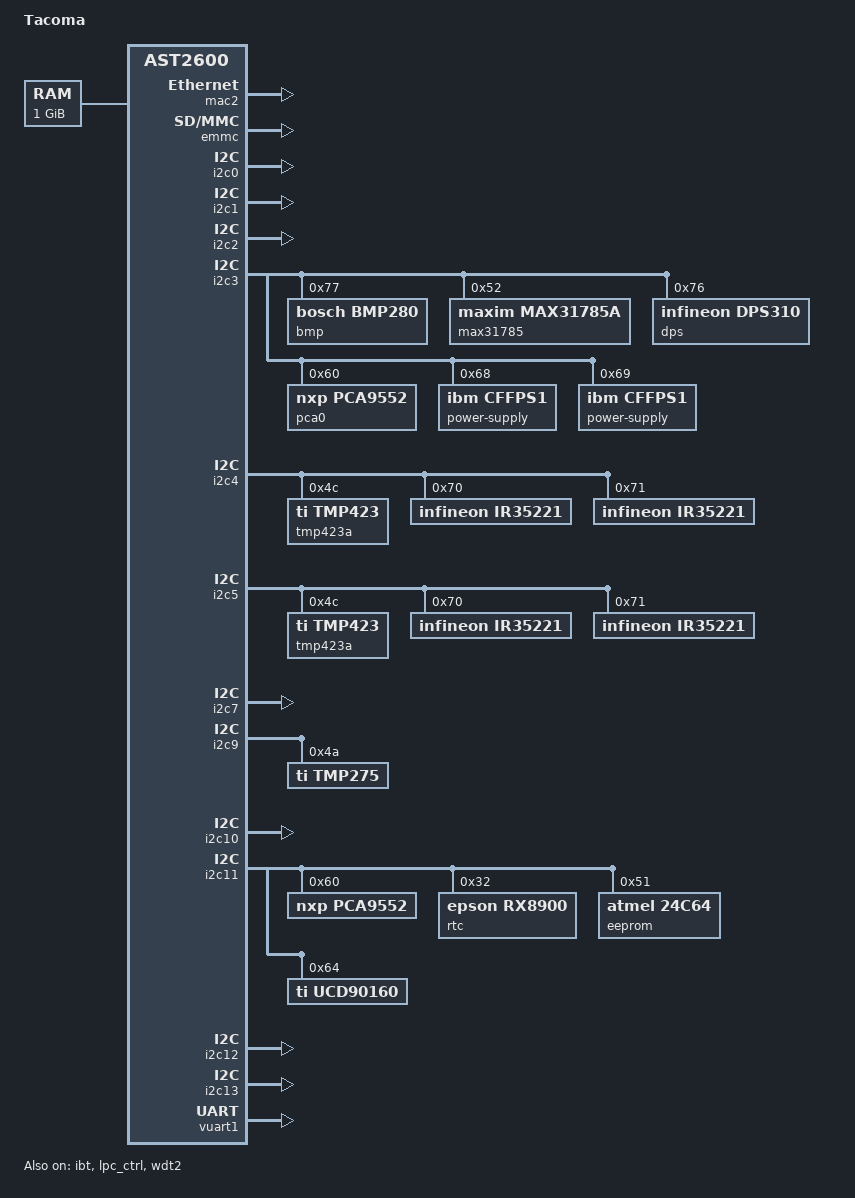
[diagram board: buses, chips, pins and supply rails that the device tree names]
// SPDX-License-Identifier: GPL-2.0-or-later
// Copyright 2019 IBM Corp.
/dts-v1/;

#include "aspeed-g6.dtsi"

/ {
	model = "Tacoma";
	compatible = "ibm,tacoma-bmc", "aspeed,ast2600";

	aliases {
		serial4 = &uart5;
	};

	chosen {
		stdout-path = &uart5;
		bootargs = "console=ttyS4,115200n8";
	};

	memory@80000000 {
		device_type = "memory";
		reg = <0x80000000 0x40000000>;
	};

	reserved-memory {
		#address-cells = <1>;
		#size-cells = <1>;
		ranges;

		flash_memory: region@ba000000 {
			no-map;
			reg = <0xba000000 0x2000000>; /* 32M */
		};
	};
};

&mac2 {
	status = "okay";
	pinctrl-names = "default";
	pinctrl-0 = <&pinctrl_rmii3_default>;
	use-ncsi;
};

&emmc {
	status = "okay";
};

&i2c0 {
	status = "okay";
};

&i2c1 {
	status = "okay";
};

&i2c2 {
	status = "okay";
};

&i2c3 {
	status = "okay";

	bmp: bmp280@77 {
		compatible = "bosch,bmp280";
		reg = <0x77>;
		#io-channel-cells = <1>;
	};

	max31785@52 {
		compatible = "maxim,max31785a";
		reg = <0x52>;
		#address-cells = <1>;
		#size-cells = <0>;

		fan@0 {
			compatible = "pmbus-fan";
			reg = <0>;
			tach-pulses = <2>;
			maxim,fan-rotor-input = "tach";
			maxim,fan-pwm-freq = <25000>;
			maxim,fan-dual-tach;
			maxim,fan-no-watchdog;
			maxim,fan-no-fault-ramp;
			maxim,fan-ramp = <2>;
			maxim,fan-fault-pin-mon;
		};

		fan@1 {
			compatible = "pmbus-fan";
			reg = <1>;
			tach-pulses = <2>;
			maxim,fan-rotor-input = "tach";
			maxim,fan-pwm-freq = <25000>;
			maxim,fan-dual-tach;
			maxim,fan-no-watchdog;
			maxim,fan-no-fault-ramp;
			maxim,fan-ramp = <2>;
			maxim,fan-fault-pin-mon;
		};

		fan@2 {
			compatible = "pmbus-fan";
			reg = <2>;
			tach-pulses = <2>;
			maxim,fan-rotor-input = "tach";
			maxim,fan-pwm-freq = <25000>;
			maxim,fan-dual-tach;
			maxim,fan-no-watchdog;
			maxim,fan-no-fault-ramp;
			maxim,fan-ramp = <2>;
			maxim,fan-fault-pin-mon;
		};

		fan@3 {
			compatible = "pmbus-fan";
			reg = <3>;
			tach-pulses = <2>;
			maxim,fan-rotor-input = "tach";
			maxim,fan-pwm-freq = <25000>;
			maxim,fan-dual-tach;
			maxim,fan-no-watchdog;
			maxim,fan-no-fault-ramp;
			maxim,fan-ramp = <2>;
			maxim,fan-fault-pin-mon;
		};
	};

	dps: dps310@76 {
		compatible = "infineon,dps310";
		reg = <0x76>;
		#io-channel-cells = <0>;
	};

	pca0: pca9552@60 {
		compatible = "nxp,pca9552";
		reg = <0x60>;
		#address-cells = <1>;
		#size-cells = <0>;

		gpio-controller;
		#gpio-cells = <2>;

		gpio@0 {
			reg = <0>;
			type = <PCA955X_TYPE_GPIO>;
		};

		gpio@1 {
			reg = <1>;
			type = <PCA955X_TYPE_GPIO>;
		};

		gpio@2 {
			reg = <2>;
			type = <PCA955X_TYPE_GPIO>;
		};

		gpio@3 {
			reg = <3>;
			type = <PCA955X_TYPE_GPIO>;
		};

		gpio@4 {
			reg = <4>;
			type = <PCA955X_TYPE_GPIO>;
		};

		gpio@5 {
			reg = <5>;
			type = <PCA955X_TYPE_GPIO>;
		};

		gpio@6 {
			reg = <6>;
			type = <PCA955X_TYPE_GPIO>;
		};

		gpio@7 {
			reg = <7>;
			type = <PCA955X_TYPE_GPIO>;
		};

		gpio@8 {
			reg = <8>;
			type = <PCA955X_TYPE_GPIO>;
		};

		gpio@9 {
			reg = <9>;
			type = <PCA955X_TYPE_GPIO>;
		};

		gpio@10 {
			reg = <10>;
			type = <PCA955X_TYPE_GPIO>;
		};

		gpio@11 {
			reg = <11>;
			type = <PCA955X_TYPE_GPIO>;
		};

		gpio@12 {
			reg = <12>;
			type = <PCA955X_TYPE_GPIO>;
		};

		gpio@13 {
			reg = <13>;
			type = <PCA955X_TYPE_GPIO>;
		};

		gpio@14 {
			reg = <14>;
			type = <PCA955X_TYPE_GPIO>;
		};

		gpio@15 {
			reg = <15>;
			type = <PCA955X_TYPE_GPIO>;
		};
	};

	power-supply@68 {
		compatible = "ibm,cffps1";
		reg = <0x68>;
	};

	power-supply@69 {
		compatible = "ibm,cffps1";
		reg = <0x69>;
	};
};

&i2c4 {
	status = "okay";

	tmp423a@4c {
		compatible = "ti,tmp423";
		reg = <0x4c>;
	};

	ir35221@70 {
		compatible = "infineon,ir35221";
		reg = <0x70>;
	};

	ir35221@71 {
		compatible = "infineon,ir35221";
		reg = <0x71>;
	};
};

&i2c5 {
	status = "okay";

	tmp423a@4c {
		compatible = "ti,tmp423";
		reg = <0x4c>;
	};

	ir35221@70 {
		compatible = "infineon,ir35221";
		reg = <0x70>;
	};

	ir35221@71 {
		compatible = "infineon,ir35221";
		reg = <0x71>;
	};
};

&i2c7 {
	status = "okay";
};

&i2c9 {
	status = "okay";

	tmp275@4a {
		compatible = "ti,tmp275";
		reg = <0x4a>;
	};
};

&i2c10 {
	status = "okay";
};

&i2c11 {
	status = "okay";

	pca9552: pca9552@60 {
		compatible = "nxp,pca9552";
		reg = <0x60>;
		#address-cells = <1>;
		#size-cells = <0>;
		gpio-controller;
		#gpio-cells = <2>;

		gpio-line-names = "PS_SMBUS_RESET_N", "APSS_RESET_N",
			"GPU0_TH_OVERT_N_BUFF",	"GPU1_TH_OVERT_N_BUFF",
			"GPU2_TH_OVERT_N_BUFF", "GPU3_TH_OVERT_N_BUFF",
			"GPU4_TH_OVERT_N_BUFF",	"GPU5_TH_OVERT_N_BUFF",
			"GPU0_PWR_GOOD_BUFF", "GPU1_PWR_GOOD_BUFF",
			"GPU2_PWR_GOOD_BUFF", "GPU3_PWR_GOOD_BUFF",
			"GPU4_PWR_GOOD_BUFF", "GPU5_PWR_GOOD_BUFF",
			"12V_BREAKER_FLT_N", "THROTTLE_UNLATCHED_N";

		gpio@0 {
			reg = <0>;
			type = <PCA955X_TYPE_GPIO>;
		};

		gpio@1 {
			reg = <1>;
			type = <PCA955X_TYPE_GPIO>;
		};

		gpio@2 {
			reg = <2>;
			type = <PCA955X_TYPE_GPIO>;
		};

		gpio@3 {
			reg = <3>;
			type = <PCA955X_TYPE_GPIO>;
		};

		gpio@4 {
			reg = <4>;
			type = <PCA955X_TYPE_GPIO>;
		};

		gpio@5 {
			reg = <5>;
			type = <PCA955X_TYPE_GPIO>;
		};

		gpio@6 {
			reg = <6>;
			type = <PCA955X_TYPE_GPIO>;
		};

		gpio@7 {
			reg = <7>;
			type = <PCA955X_TYPE_GPIO>;
		};

		gpio@8 {
			reg = <8>;
			type = <PCA955X_TYPE_GPIO>;
		};

		gpio@9 {
			reg = <9>;
			type = <PCA955X_TYPE_GPIO>;
		};

		gpio@10 {
			reg = <10>;
			type = <PCA955X_TYPE_GPIO>;
		};

		gpio@11 {
			reg = <11>;
			type = <PCA955X_TYPE_GPIO>;
		};

		gpio@12 {
			reg = <12>;
			type = <PCA955X_TYPE_GPIO>;
		};

		gpio@13 {
			reg = <13>;
			type = <PCA955X_TYPE_GPIO>;
		};

		gpio@14 {
			reg = <14>;
			type = <PCA955X_TYPE_GPIO>;
		};

		gpio@15 {
			reg = <15>;
			type = <PCA955X_TYPE_GPIO>;
		};
	};

	rtc@32 {
		compatible = "epson,rx8900";
		reg = <0x32>;
	};

	eeprom@51 {
		compatible = "atmel,24c64";
		reg = <0x51>;
	};

	ucd90160@64 {
		compatible = "ti,ucd90160";
		reg = <0x64>;
	};
};

&i2c12 {
	status = "okay";
};

&i2c13 {
	status = "okay";
};

&ibt {
	status = "okay";
};

&vuart1 {
	status = "okay";
};

&lpc_ctrl {
	status = "okay";
	memory-region = <&flash_memory>;
	flash = <&spi1>;
};

&wdt1 {
	aspeed,reset-type = "none";
	aspeed,external-signal;
	aspeed,ext-push-pull;
	aspeed,ext-active-high;

	pinctrl-names = "default";
	pinctrl-0 = <&pinctrl_wdtrst1_default>;
};

&wdt2 {
	status = "okay";
};
